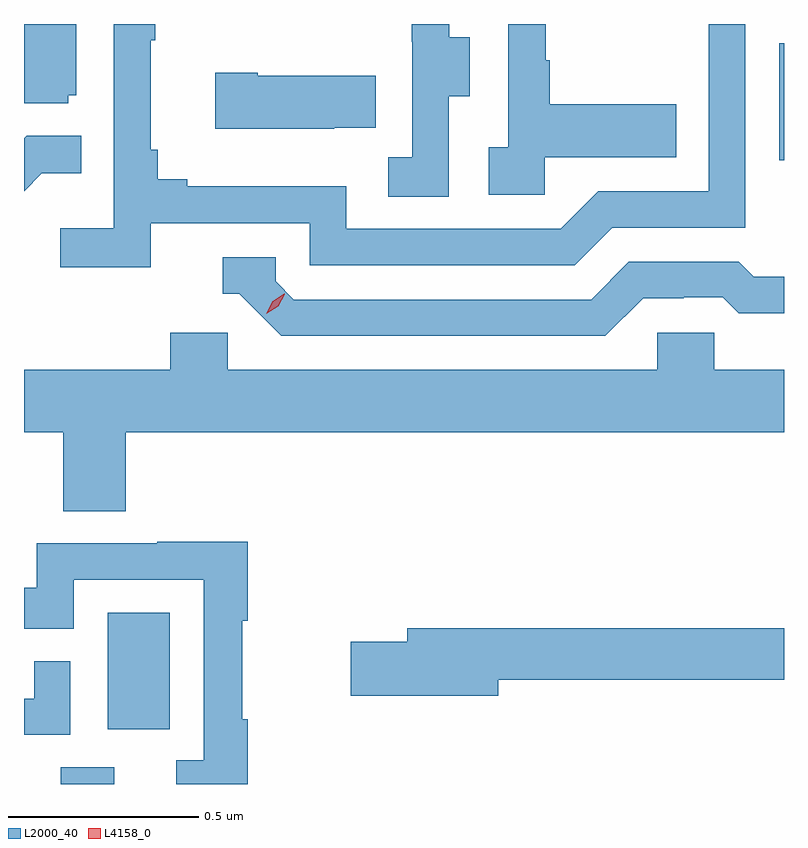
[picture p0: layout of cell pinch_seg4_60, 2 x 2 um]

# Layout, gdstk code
import gdstk
lib = gdstk.Library(unit=1e-6, precision=1e-09)
def R(c, l, rs):  # rectangles x0, y0, x1, y1
    for r in rs: c.add(gdstk.rectangle(r[:2], r[2:], *l))
def P(c, l, *ps):  # polygons
    for p in ps: c.add(gdstk.Polygon(p, *l))
L2000_40 = (2000, 40)
L4158_0 = (4158, 0)

pinch_seg4_60 = lib.new_cell('pinch_seg4_60')
R(pinch_seg4_60, L2000_40, [(1045.913,811.878,1046.053,811.922), (1046.036,812.022,1046.2,812.329), (1047.804,813.519,1047.816,813.828)])
P(pinch_seg4_60, L2000_40, [(1045.932,813.69),(1045.954,813.69),(1045.954,813.878),(1045.816,813.878),(1045.816,813.669),(1045.932,813.669)],
  [(1046.15,813.354),(1046.568,813.354),(1046.568,813.243),(1047.265,813.243),(1047.364,813.342),(1047.714,813.342),(1047.714,813.878),(1047.618,813.878),(1047.618,813.438),(1047.327,813.438),(1047.228,813.339),(1046.664,813.339),(1046.664,813.451),(1046.245,813.451),(1046.245,813.47),(1046.168,813.47),(1046.168,813.547),(1046.149,813.547),(1046.149,813.835),(1046.161,813.835),(1046.161,813.878),(1046.052,813.878),(1046.052,813.34),(1045.911,813.34),(1045.911,813.238),(1046.15,813.238)],
  [(1047.186,813.527),(1047.533,813.527),(1047.533,813.667),(1047.199,813.667),(1047.199,813.782),(1047.189,813.782),(1047.189,813.878),(1047.09,813.878),(1047.09,813.554),(1047.039,813.554),(1047.039,813.429),(1047.186,813.429)],
  [(1046.934,813.688),(1046.989,813.688),(1046.989,813.843),(1046.935,813.843),(1046.935,813.878),(1046.837,813.878),(1046.837,813.831),(1046.838,813.831),(1046.838,813.527),(1046.775,813.527),(1046.775,813.424),(1046.934,813.424)],
  [(1046.633,813.605),(1046.741,813.605),(1046.741,813.742),(1046.431,813.742),(1046.431,813.75),(1046.319,813.75),(1046.319,813.602),(1046.633,813.602)],
  [(1045.863,813.485),(1045.967,813.485),(1045.967,813.584),(1045.823,813.584),(1045.816,813.577),(1045.816,813.438)],
  [(1047.445,813.156),(1047.552,813.156),(1047.552,813.159),(1047.655,813.159),(1047.697,813.117),(1047.816,813.117),(1047.816,813.213),(1047.736,813.213),(1047.697,813.252),(1047.408,813.252),(1047.309,813.153),(1046.526,813.153),(1046.478,813.201),(1046.478,813.264),(1046.339,813.264),(1046.339,813.168),(1046.382,813.168),(1046.493,813.057),(1047.346,813.057)],
  [(1046.084,812.804),(1047.816,812.804),(1047.816,812.968),(1047.633,812.968),(1047.633,813.066),(1047.483,813.066),(1047.483,812.968),(1046.352,812.968),(1046.352,813.066),(1046.201,813.066),(1046.201,812.968),(1045.816,812.968),(1045.816,812.804),(1045.919,812.804),(1045.919,812.596),(1046.084,812.596)],
  [(1046.405,812.048),(1046.39,812.048),(1046.39,812.308),(1046.405,812.308),(1046.405,812.516),(1046.167,812.516),(1046.167,812.511),(1045.849,812.511),(1045.849,812.394),(1045.816,812.394),(1045.816,812.286),(1045.947,812.286),(1045.947,812.415),(1046.289,812.415),(1046.289,811.941),(1046.217,811.941),(1046.217,811.878),(1046.405,811.878)],
  [(1047.064,812.152),(1047.816,812.152),(1047.816,812.288),(1046.825,812.288),(1046.825,812.252),(1046.676,812.252),(1046.676,812.11),(1047.064,812.11)],
  [(1045.938,812.201),(1045.843,812.201),(1045.843,812.103),(1045.816,812.103),(1045.816,812.007),(1045.938,812.007)])
P(pinch_seg4_60, L4158_0, [(1046.454,813.115),(1046.454,813.116),(1046.47,813.148),(1046.501,813.168),(1046.502,813.168),(1046.502,813.167),(1046.485,813.135),(1046.454,813.115)])

lib.write_gds('pinch_seg4_60.gds')
